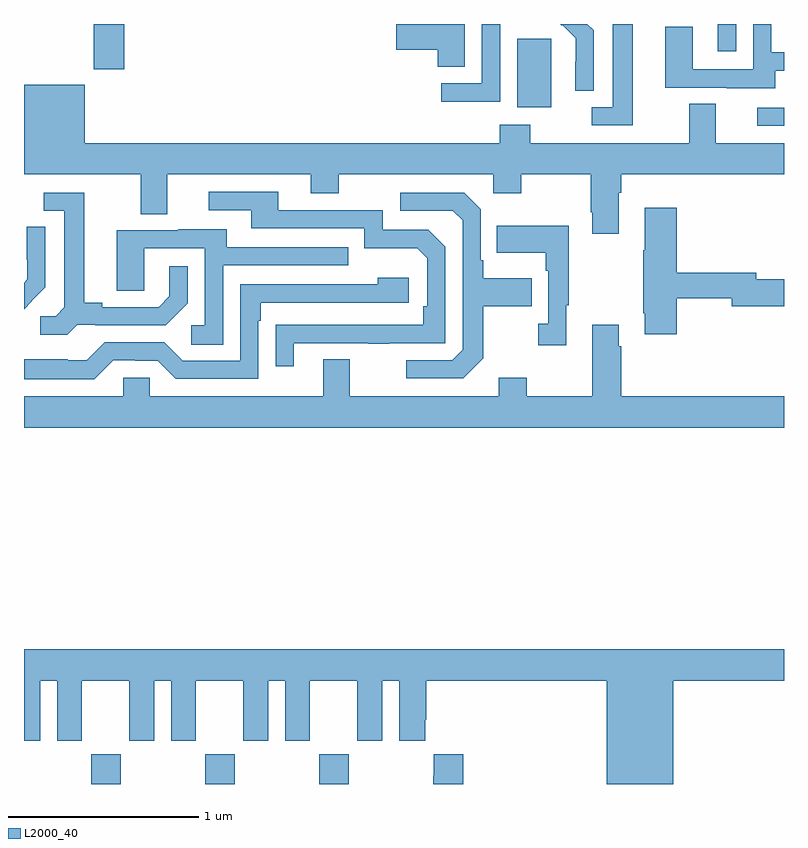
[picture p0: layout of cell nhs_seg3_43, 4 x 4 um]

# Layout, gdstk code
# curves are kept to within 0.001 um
import gdstk
lib = gdstk.Library(unit=1e-6, precision=1e-09)
def R(c, l, rs):  # rectangles x0, y0, x1, y1
    for r in rs: c.add(gdstk.rectangle(r[:2], r[2:], *l))
def A(c, l, x, y, w, h, nx, ny, dx, dy):  # array of equal rectangles
    R(c, l, [(x+i*dx, y+j*dy, x+i*dx+w, y+j*dy+h) for i in range(nx) for j in range(ny)])
def P(c, l, *ps):  # polygons
    for p in ps: c.add(gdstk.Polygon(p, *l))
L2000_40 = (2000, 40)

nhs_seg3_43 = lib.new_cell('nhs_seg3_43')
A(nhs_seg3_43, L2000_40, 113.353, 672.4, 0.155, 0.156, 3, 1, 0.6, 0)
R(nhs_seg3_43, L2000_40, [(116.859,675.864,117,675.96), (115.595,675.962,115.774,676.323), (113.368,676.161,113.528,676.4), (116.651,676.257,116.748,676.4)])
P(nhs_seg3_43, L2000_40, [(116.953,676.155),(117,676.155),(117,676.251),(116.934,676.251),(116.934,676.4),(116.838,676.4),(116.838,676.161),(116.52,676.161),(116.52,676.385),(116.375,676.385),(116.375,676.065),(116.699,676.065),(116.699,676.061),(116.953,676.061)],
  [(115.998,676.366),(115.964,676.4),(115.822,676.4),(115.83,676.392),(115.833,676.395),(115.904,676.325),(115.904,676.202),(115.902,676.202),(115.902,676.048),(115.998,676.048)],
  [(115.506,676.4),(115.41,676.4),(115.41,676.089),(115.197,676.089),(115.197,675.991),(115.506,675.991)],
  [(116.203,676.4),(116.099,676.4),(116.099,675.963),(115.989,675.963),(115.989,675.867),(116.203,675.867)],
  [(115.321,676.4),(114.96,676.4),(114.96,676.265),(115.178,676.265),(115.178,676.174),(115.321,676.174)],
  [(116.131,675.512),(116.144,675.512),(116.144,675.608),(117,675.608),(117,675.772),(116.641,675.772),(116.641,675.98),(116.501,675.98),(116.501,675.772),(115.665,675.772),(115.665,675.871),(115.505,675.871),(115.505,675.772),(113.32,675.772),(113.32,676.081),(113,676.081),(113,675.608),(113.615,675.608),(113.615,675.4),(113.755,675.4),(113.755,675.608),(114.509,675.608),(114.509,675.509),(114.657,675.509),(114.657,675.608),(115.47,675.608),(115.47,675.509),(115.617,675.509),(115.617,675.608),(115.984,675.608),(115.984,675.409),(115.991,675.409),(115.991,675.297),(116.131,675.297)],
  [(114.421,674.721),(114.811,674.721),(114.811,674.716),(114.923,674.716),(114.923,674.721),(115.218,674.721),(115.218,675.228),(115.128,675.318),(114.888,675.318),(114.888,675.42),(114.337,675.42),(114.337,675.516),(113.973,675.516),(113.973,675.42),(114.197,675.42),(114.197,675.324),(114.792,675.324),(114.792,675.221),(115.069,675.221),(115.122,675.168),(115.122,674.914),(115.102,674.914),(115.102,674.817),(114.325,674.816),(114.325,674.598),(114.421,674.598)],
  [(115.417,674.641),(115.417,674.914),(115.673,674.914),(115.673,675.061),(115.417,675.061),(115.417,675.157),(115.404,675.157),(115.404,675.426),(115.317,675.513),(114.981,675.513),(114.981,675.417),(115.257,675.417),(115.308,675.366),(115.308,674.685),(115.254,674.631),(115.011,674.631),(115.011,674.535),(115.311,674.535)],
  [(113.28,674.817),(113.374,674.817),(113.374,674.814),(113.746,674.814),(113.862,674.93),(113.862,675.124),(113.765,675.124),(113.765,674.967),(113.708,674.91),(113.413,674.91),(113.413,674.933),(113.317,674.933),(113.317,675.513),(113.103,675.513),(113.103,675.417),(113.213,675.417),(113.213,674.909),(113.166,674.862),(113.085,674.862),(113.085,674.765),(113.228,674.765)],
  [(116.435,674.956),(116.726,674.956),(116.726,674.914),(117,674.914),(117,675.056),(116.854,675.056),(116.854,675.092),(116.435,675.092),(116.435,675.433),(116.267,675.433),(116.267,675.209),(116.26,675.209),(116.26,674.878),(116.267,674.878),(116.267,674.766),(116.435,674.766)],
  [(115.855,674.921),(115.867,674.921),(115.867,675.337),(115.489,675.337),(115.489,675.197),(115.746,675.197),(115.746,675.101),(115.758,675.101),(115.758,674.822),(115.707,674.822),(115.707,674.709),(115.855,674.709)],
  [(113.04,674.94),(113.039,674.941),(113.112,675.014),(113.112,675.332),(113.015,675.332),(113.015,675.16),(113.018,675.16),(113.018,675.056),(113,675.038),(113,674.9)],
  [(114.048,675.129),(114.707,675.129),(114.707,675.225),(114.067,675.225),(114.067,675.319),(113.813,675.319),(113.813,675.315),(113.489,675.315),(113.489,674.995),(113.634,674.995),(113.634,675.219),(113.952,675.219),(113.952,674.814),(113.88,674.814),(113.88,674.713),(114.048,674.713)],
  [(113.469,674.631),(113.585,674.631),(113.585,674.628),(113.703,674.628),(113.799,674.532),(114.234,674.532),(114.234,674.837),(114.247,674.837),(114.247,674.934),(115.024,674.934),(115.024,675.064),(114.863,675.064),(114.863,675.03),(114.138,675.03),(114.138,674.628),(113.835,674.628),(113.739,674.724),(113.424,674.724),(113.331,674.631),(113.231,674.631),(113.231,674.635),(113,674.635),(113,674.531),(113.369,674.531)],
  [(117,674.44),(116.144,674.44),(116.144,674.705),(116.131,674.705),(116.131,674.818),(115.991,674.818),(115.991,674.44),(115.647,674.44),(115.647,674.539),(115.499,674.539),(115.499,674.44),(114.715,674.44),(114.715,674.635),(114.575,674.635),(114.575,674.44),(113.661,674.44),(113.661,674.538),(113.523,674.538),(113.523,674.44),(113,674.44),(113,674.276),(117,674.276)],
  [(116.416,672.944),(117,672.944),(117,673.108),(113,673.108),(113,672.627),(113.086,672.627),(113.086,672.944),(113.174,672.944),(113.174,672.627),(113.305,672.627),(113.305,672.944),(113.555,672.944),(113.555,672.627),(113.686,672.627),(113.686,672.944),(113.774,672.944),(113.774,672.627),(113.905,672.627),(113.905,672.944),(114.155,672.944),(114.155,672.627),(114.286,672.627),(114.286,672.944),(114.374,672.944),(114.374,672.627),(114.505,672.627),(114.505,672.944),(114.755,672.944),(114.755,672.627),(114.886,672.627),(114.886,672.944),(114.974,672.944),(114.974,672.627),(115.111,672.627),(115.111,672.739),(115.118,672.739),(115.118,672.944),(116.066,672.944),(116.066,672.4),(116.416,672.4)],
  [(115.313,672.556),(115.157,672.556),(115.157,672.443),(115.153,672.443),(115.153,672.4),(115.313,672.4)])

lib.write_gds('nhs_seg3_43.gds')
